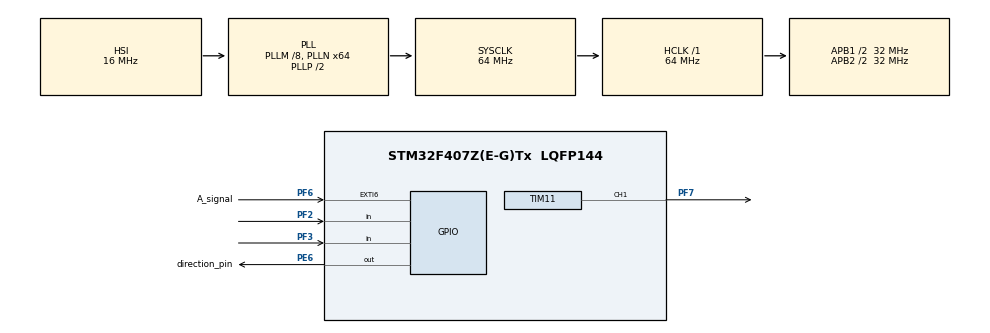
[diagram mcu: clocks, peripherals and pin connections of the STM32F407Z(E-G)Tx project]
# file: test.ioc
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Mcu.Family=STM32F4
Mcu.Name=STM32F407Z(E-G)Tx
Mcu.Package=LQFP144
NVIC.EXTI9_5_IRQn=true\:0\:0\:false\:false\:true\:true\:true\:true
NVIC.PriorityGroup=NVIC_PRIORITYGROUP_4
NVIC.TIM6_DAC_IRQn=true\:0\:0\:false\:false\:true\:true\:true\:true
NVIC.TIM7_IRQn=true\:0\:0\:false\:false\:true\:true\:true\:true
PE6.GPIO_Label=direction_pin
PE6.Signal=GPIO_Output
PF2.Signal=GPIO_Input
PF3.Signal=GPIO_Input
PF6.GPIO_Label=A_signal
PF6.Signal=GPXTI6
PF7.Signal=S_TIM11_CH1
ProjectManager.HeapSize=0x200
ProjectManager.StackSize=0x400
ProjectManager.TargetToolchain=STM32CubeIDE
RCC.48MHZClocksFreq_Value=32000000
RCC.AHBFreq_Value=64000000
RCC.APB1CLKDivider=RCC_HCLK_DIV2
RCC.APB1Freq_Value=32000000
RCC.APB1TimFreq_Value=64000000
RCC.APB2CLKDivider=RCC_HCLK_DIV2
RCC.APB2Freq_Value=32000000
RCC.APB2TimFreq_Value=64000000
RCC.CortexFreq_Value=64000000
RCC.HCLKFreq_Value=64000000
RCC.HSE_VALUE=25000000
RCC.HSI_VALUE=16000000
RCC.LSE_VALUE=32768
RCC.PLLM=8
RCC.PLLN=64
RCC.SYSCLKFreq_VALUE=64000000
RCC.SYSCLKSource=RCC_SYSCLKSOURCE_PLLCLK
RCC.VCOOutputFreq_Value=128000000
SH.S_TIM11_CH1.0=TIM11_CH1,PWM Generation1 CH1
TIM10.Period=999
TIM10.Prescaler=63
TIM11.AutoReloadPreload=TIM_AUTORELOAD_PRELOAD_ENABLE
TIM11.Channel=TIM_CHANNEL_1
TIM11.Period=1000
TIM11.Prescaler=3
TIM11.Pulse=500
TIM6.AutoReloadPreload=TIM_AUTORELOAD_PRELOAD_ENABLE
TIM6.Period=999
TIM6.Prescaler=830
TIM7.Period=999
TIM7.Prescaler=639
VP_TIM10_VS_ClockSourceINT.Mode=Enable_Timer
VP_TIM11_VS_ClockSourceINT.Mode=Enable_Timer
VP_TIM6_VS_ClockSourceINT.Mode=Enable_Timer
VP_TIM7_VS_ClockSourceINT.Mode=Enable_Timer
board=custom

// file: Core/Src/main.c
/* USER CODE BEGIN Header */
/**
 ******************************************************************************
 * @file           : main.c
 * @brief          : Main program body
 ******************************************************************************
 * @attention
 *
 * Copyright (c) 2023 STMicroelectronics.
 * All rights reserved.
 *
 * This software is licensed under terms that can be found in the LICENSE file
 * in the root directory of this software component.
 * If no LICENSE file comes with this software, it is provided AS-IS.
 *
 ******************************************************************************
 */
/* USER CODE END Header */
#include "main.h"

TIM_HandleTypeDef htim6;
TIM_HandleTypeDef htim7;
TIM_HandleTypeDef htim10;
TIM_HandleTypeDef htim11;

/* USER CODE BEGIN PV */

int number_A = 0;
int number_A_sampled = 0;
float rpm;

float k_p = 0.3f, k_i = 1.0f, setpoint = 700;	// SET VALUE
float error_integral = 0;
float Ts = .00762f;
float control_output;
float error;
int direction;
//float setpoint_array[4]={350,500,700,800};
//float t_array[4]={5,10,15,20};
float sys_time;
/* USER CODE END PV */

void SystemClock_Config(void);
static void MX_GPIO_Init(void);
static void MX_TIM6_Init(void);
static void MX_TIM7_Init(void);
static void MX_TIM11_Init(void);
static void MX_TIM10_Init(void);

int main(void) {
	/* USER CODE BEGIN 1 */

	// External Interrupt ISR Handler CallBackFun

	/* USER CODE END 1 */

	/* MCU Configuration--------------------------------------------------------*/

	/* Reset of all peripherals, Initializes the Flash interface and the Systick. */
	HAL_Init();

	/* Configure the system clock */
	SystemClock_Config();

	/* Initialize all configured peripherals */
	MX_GPIO_Init();
	MX_TIM6_Init();
	MX_TIM7_Init();
	MX_TIM11_Init();
	MX_TIM10_Init();
	/* USER CODE BEGIN 2 */
	HAL_TIM_Base_Start_IT(&htim7);
	HAL_TIM_Base_Start_IT(&htim6);
	HAL_GPIO_WritePin(GPIOG, GPIO_PIN_7, GPIO_PIN_RESET);

	HAL_TIM_PWM_Start(&htim11, TIM_CHANNEL_1);
	TIM11->CCR1 = 80;

	/* USER CODE END 2 */

	/* Infinite loop */
	/* USER CODE BEGIN WHILE */

	while (1) {

//	  if (sys_time - counted_time == t_array[i] * 100) {
//		  counted_time = sys_time;
//		  i = (i + 1) % 4;
//		  setpoint = setpoint_array[i];
//	  }

		/* USER CODE END WHILE */

	}
}

void SystemClock_Config(void) {
	RCC_OscInitTypeDef RCC_OscInitStruct = { 0 };
	RCC_ClkInitTypeDef RCC_ClkInitStruct = { 0 };

	/** Configure the main internal regulator output voltage
	 */
	__HAL_RCC_PWR_CLK_ENABLE();
	__HAL_PWR_VOLTAGESCALING_CONFIG(PWR_REGULATOR_VOLTAGE_SCALE1);

	/** Initializes the RCC Oscillators according to the specified parameters
	 * in the RCC_OscInitTypeDef structure.
	 */
	RCC_OscInitStruct.OscillatorType = RCC_OSCILLATORTYPE_HSI;
	RCC_OscInitStruct.HSIState = RCC_HSI_ON;
	RCC_OscInitStruct.HSICalibrationValue = RCC_HSICALIBRATION_DEFAULT;
	RCC_OscInitStruct.PLL.PLLState = RCC_PLL_ON;
	RCC_OscInitStruct.PLL.PLLSource = RCC_PLLSOURCE_HSI;
	RCC_OscInitStruct.PLL.PLLM = 8;
	RCC_OscInitStruct.PLL.PLLN = 64;
	RCC_OscInitStruct.PLL.PLLP = RCC_PLLP_DIV2;
	RCC_OscInitStruct.PLL.PLLQ = 4;
	if (HAL_RCC_OscConfig(&RCC_OscInitStruct) != HAL_OK) {
		Error_Handler();
	}

	/** Initializes the CPU, AHB and APB buses clocks
	 */
	RCC_ClkInitStruct.ClockType = RCC_CLOCKTYPE_HCLK | RCC_CLOCKTYPE_SYSCLK
			| RCC_CLOCKTYPE_PCLK1 | RCC_CLOCKTYPE_PCLK2;
	RCC_ClkInitStruct.SYSCLKSource = RCC_SYSCLKSOURCE_PLLCLK;
	RCC_ClkInitStruct.AHBCLKDivider = RCC_SYSCLK_DIV1;
	RCC_ClkInitStruct.APB1CLKDivider = RCC_HCLK_DIV2;
	RCC_ClkInitStruct.APB2CLKDivider = RCC_HCLK_DIV2;

	if (HAL_RCC_ClockConfig(&RCC_ClkInitStruct, FLASH_LATENCY_2) != HAL_OK) {
		Error_Handler();
	}
}

static void MX_TIM6_Init(void) {

	TIM_MasterConfigTypeDef sMasterConfig = { 0 };

	htim6.Instance = TIM6;
	htim6.Init.Prescaler = 830;
	htim6.Init.CounterMode = TIM_COUNTERMODE_UP;
	htim6.Init.Period = 999;
	htim6.Init.AutoReloadPreload = TIM_AUTORELOAD_PRELOAD_ENABLE;
	if (HAL_TIM_Base_Init(&htim6) != HAL_OK) {
		Error_Handler();
	}
	sMasterConfig.MasterOutputTrigger = TIM_TRGO_RESET;
	sMasterConfig.MasterSlaveMode = TIM_MASTERSLAVEMODE_DISABLE;
	if (HAL_TIMEx_MasterConfigSynchronization(&htim6, &sMasterConfig)
			!= HAL_OK) {
		Error_Handler();
	}

}

static void MX_TIM7_Init(void) {

	TIM_MasterConfigTypeDef sMasterConfig = { 0 };

	htim7.Instance = TIM7;
	htim7.Init.Prescaler = 639;
	htim7.Init.CounterMode = TIM_COUNTERMODE_UP;
	htim7.Init.Period = 999;
	htim7.Init.AutoReloadPreload = TIM_AUTORELOAD_PRELOAD_DISABLE;
	if (HAL_TIM_Base_Init(&htim7) != HAL_OK) {
		Error_Handler();
	}
	sMasterConfig.MasterOutputTrigger = TIM_TRGO_RESET;
	sMasterConfig.MasterSlaveMode = TIM_MASTERSLAVEMODE_DISABLE;
	if (HAL_TIMEx_MasterConfigSynchronization(&htim7, &sMasterConfig)
			!= HAL_OK) {
		Error_Handler();
	}

}

static void MX_TIM10_Init(void) {

	htim10.Instance = TIM10;
	htim10.Init.Prescaler = 63;
	htim10.Init.CounterMode = TIM_COUNTERMODE_UP;
	htim10.Init.Period = 999;
	htim10.Init.ClockDivision = TIM_CLOCKDIVISION_DIV1;
	htim10.Init.AutoReloadPreload = TIM_AUTORELOAD_PRELOAD_DISABLE;
	if (HAL_TIM_Base_Init(&htim10) != HAL_OK) {
		Error_Handler();
	}

}

static void MX_TIM11_Init(void) {

	TIM_OC_InitTypeDef sConfigOC = { 0 };

	htim11.Instance = TIM11;
	htim11.Init.Prescaler = 3;
	htim11.Init.CounterMode = TIM_COUNTERMODE_UP;
	htim11.Init.Period = 1000;
	htim11.Init.ClockDivision = TIM_CLOCKDIVISION_DIV1;
	htim11.Init.AutoReloadPreload = TIM_AUTORELOAD_PRELOAD_ENABLE;
	if (HAL_TIM_Base_Init(&htim11) != HAL_OK) {
		Error_Handler();
	}
	if (HAL_TIM_PWM_Init(&htim11) != HAL_OK) {
		Error_Handler();
	}
	sConfigOC.OCMode = TIM_OCMODE_PWM1;
	sConfigOC.Pulse = 500;
	sConfigOC.OCPolarity = TIM_OCPOLARITY_HIGH;
	sConfigOC.OCFastMode = TIM_OCFAST_DISABLE;
	if (HAL_TIM_PWM_ConfigChannel(&htim11, &sConfigOC, TIM_CHANNEL_1)
			!= HAL_OK) {
		Error_Handler();
	}
	HAL_TIM_MspPostInit(&htim11);

}

static void MX_GPIO_Init(void) {
	GPIO_InitTypeDef GPIO_InitStruct = { 0 };

	/* GPIO Ports Clock Enable */
	__HAL_RCC_GPIOE_CLK_ENABLE();
	__HAL_RCC_GPIOF_CLK_ENABLE();

	/*Configure GPIO pin Output Level */
	HAL_GPIO_WritePin(direction_pin_GPIO_Port, direction_pin_Pin,
			GPIO_PIN_RESET);

	/*Configure GPIO pin : direction_pin_Pin */
	GPIO_InitStruct.Pin = direction_pin_Pin;
	GPIO_InitStruct.Mode = GPIO_MODE_OUTPUT_PP;
	GPIO_InitStruct.Pull = GPIO_NOPULL;
	GPIO_InitStruct.Speed = GPIO_SPEED_FREQ_LOW;
	HAL_GPIO_Init(direction_pin_GPIO_Port, &GPIO_InitStruct);

	/*Configure GPIO pins : PF2 PF3 */
	GPIO_InitStruct.Pin = GPIO_PIN_2 | GPIO_PIN_3;
	GPIO_InitStruct.Mode = GPIO_MODE_INPUT;
	GPIO_InitStruct.Pull = GPIO_NOPULL;
	HAL_GPIO_Init(GPIOF, &GPIO_InitStruct);

	/*Configure GPIO pin : A_signal_Pin */
	GPIO_InitStruct.Pin = A_signal_Pin;
	GPIO_InitStruct.Mode = GPIO_MODE_IT_RISING;
	GPIO_InitStruct.Pull = GPIO_NOPULL;
	HAL_GPIO_Init(A_signal_GPIO_Port, &GPIO_InitStruct);

	/* EXTI interrupt init*/
	HAL_NVIC_SetPriority(EXTI9_5_IRQn, 0, 0);
	HAL_NVIC_EnableIRQ(EXTI9_5_IRQn);

}

/* USER CODE BEGIN 4 */

void HAL_TIM_PeriodElapsedCallback(TIM_HandleTypeDef *htim) {
	if (htim->Instance == TIM7) {
		number_A_sampled = number_A;
		number_A = 0;
		sys_time++;
	}
	if (htim->Instance == TIM6) {
		rpm = (number_A_sampled * 6000) / 1024;
		error = setpoint - rpm;
		control_output = k_p * error + k_i * error_integral;
		error_integral += error * Ts;
		direction = control_output > 0;
		TIM11->CCR1 = direction ? (int) (control_output) : (int) (-control_output);
		HAL_GPIO_WritePin(GPIOE, GPIO_PIN_6, direction);
	}
}

void HAL_GPIO_EXTI_Callback(uint16_t pin) {
	if (pin == GPIO_PIN_6) {
		number_A++;
	}
}

/* USER CODE END 4 */

void Error_Handler(void) {
	__disable_irq();
	while (1) {
	}
}
